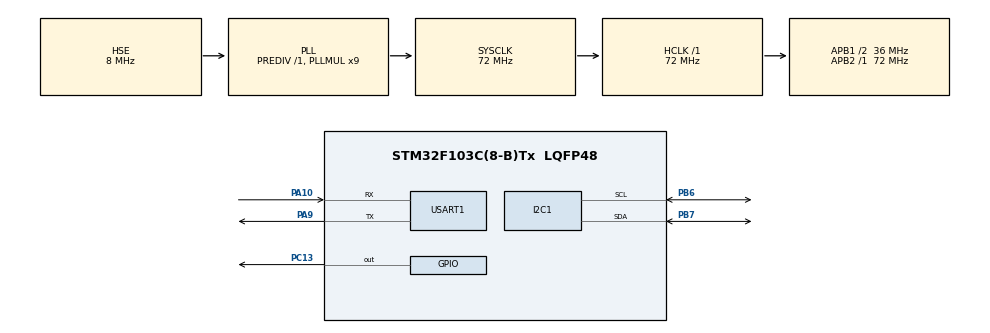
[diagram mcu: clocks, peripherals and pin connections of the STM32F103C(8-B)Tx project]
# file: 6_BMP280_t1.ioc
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Mcu.Family=STM32F1
Mcu.Name=STM32F103C(8-B)Tx
Mcu.Package=LQFP48
NVIC.PriorityGroup=NVIC_PRIORITYGROUP_4
NVIC.USART1_IRQn=true\:0\:0\:false\:false\:true\:true\:true\:true
PA10.Mode=Asynchronous
PA10.Signal=USART1_RX
PA13.Mode=Serial_Wire
PA13.Signal=SYS_JTMS-SWDIO
PA14.Mode=Serial_Wire
PA14.Signal=SYS_JTCK-SWCLK
PA9.Mode=Asynchronous
PA9.Signal=USART1_TX
PB6.Mode=I2C
PB6.Signal=I2C1_SCL
PB7.Mode=I2C
PB7.Signal=I2C1_SDA
PC13-TAMPER-RTC.PinState=GPIO_PIN_SET
PC13-TAMPER-RTC.Signal=GPIO_Output
PD0-OSC_IN.Mode=HSE-External-Oscillator
PD0-OSC_IN.Signal=RCC_OSC_IN
PD1-OSC_OUT.Mode=HSE-External-Oscillator
PD1-OSC_OUT.Signal=RCC_OSC_OUT
ProjectManager.HeapSize=0x200
ProjectManager.StackSize=0x800
ProjectManager.TargetToolchain=CMake
RCC.AHBFreq_Value=72000000
RCC.APB1CLKDivider=RCC_HCLK_DIV2
RCC.APB1Freq_Value=36000000
RCC.APB1TimFreq_Value=72000000
RCC.APB2Freq_Value=72000000
RCC.APB2TimFreq_Value=72000000
RCC.EnbaleCSS=true
RCC.HCLKFreq_Value=72000000
RCC.PLLMUL=RCC_PLL_MUL9
RCC.PLLSourceVirtual=RCC_PLLSOURCE_HSE
RCC.SYSCLKFreq_VALUE=72000000
RCC.SYSCLKSource=RCC_SYSCLKSOURCE_PLLCLK
RCC.USBFreq_Value=72000000
USART1.VirtualMode=VM_ASYNC
board=custom

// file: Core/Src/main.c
/* USER CODE BEGIN Header */
/**
  ******************************************************************************
  * @file           : main.c
  * @brief          : Main program body
  ******************************************************************************
  * @attention
  *
  * Copyright (c) 2026 STMicroelectronics.
  * All rights reserved.
  *
  * This software is licensed under terms that can be found in the LICENSE file
  * in the root directory of this software component.
  * If no LICENSE file comes with this software, it is provided AS-IS.
  *
  ******************************************************************************
  */
/* USER CODE END Header */
#include "main.h"
#include "i2c.h"
#include "stm32f103xb.h"
#include "stm32f1xx_hal_gpio.h"
#include "usart.h"
#include "gpio.h"

/* USER CODE BEGIN Includes */

#include "bmp280.h"
#include <stdio.h>
#include <string.h>

/* USER CODE END Includes */

/* USER CODE BEGIN PV */

extern I2C_HandleTypeDef hi2c1;
extern UART_HandleTypeDef huart1;

char msg[64];

/* USER CODE END PV */

void SystemClock_Config(void);

int main(void)
{

  /* MCU Configuration--------------------------------------------------------*/

  /* Reset of all peripherals, Initializes the Flash interface and the Systick. */
  HAL_Init();

  /* Configure the system clock */
  SystemClock_Config();

  /* Initialize all configured peripherals */
  MX_GPIO_Init();
  MX_I2C1_Init();
  MX_USART1_UART_Init();
  /* USER CODE BEGIN 2 */

  // char msg[64];

// sprintf(msg, "I2C Scan Start...\r\n");
// HAL_UART_Transmit(&huart1, (uint8_t*)msg, strlen(msg), 100);

// for(uint8_t addr=1; addr<128; addr++)
// {
//     if(HAL_I2C_IsDeviceReady(&hi2c1, addr<<1, 1, 10) == HAL_OK)
//     {
//         sprintf(msg, "Found device: 0x%X\r\n", addr);
//         HAL_UART_Transmit(&huart1, (uint8_t*)msg, strlen(msg), 100);
//     }
// }

// sprintf(msg, "Scan Done\r\n");
// HAL_UART_Transmit(&huart1, (uint8_t*)msg, strlen(msg), 100);

  uint8_t id = BMP280_ReadID(&hi2c1);

  sprintf(msg, "BMP280 ID: 0x%X\r\n", id);
  HAL_UART_Transmit(&huart1, (uint8_t*)msg, strlen(msg), 100);

  if(id != 0x58)
    {
        sprintf(msg, "BMP280 NOT FOUND!\r\n");
        HAL_UART_Transmit(&huart1, (uint8_t*)msg, strlen(msg), 100);
    }

  BMP280_Init(&hi2c1);

  /* USER CODE END 2 */

  /* Infinite loop */
  /* USER CODE BEGIN WHILE */
  float temperature, pressure, altitude;
  int32_t temp_int, temp_frac;
  int32_t press_int, press_frac;
  int32_t alt_int, alt_frac;

  // 初始化完成后，传感器结构体中已包含第一次读数作为IIR滤波器的“种子”
  // 我们直接将这个初始海拔设为基准零点
  BMP280_Set_Base_Altitude(&hi2c1);

  while (1)
  {
    BMP280_Read_Float(&hi2c1, &temperature, &pressure, &altitude);

    // 将温度浮点数拆分为整数和小数部分
    temp_int = (int32_t)temperature;
    temp_frac = (int32_t)((temperature - temp_int) * 100);
    if (temp_frac < 0) {
        temp_frac = -temp_frac; // 处理负温度的小数部分
    }

    // 将气压浮点数拆分为整数和小数部分
    press_int = (int32_t)pressure;
    press_frac = (int32_t)((pressure - press_int) * 100);

    // 将海拔浮点数拆分为整数和小数部分
    alt_int = (int32_t)altitude;
    alt_frac = (int32_t)((altitude - alt_int) * 100);
    if (alt_frac < 0) {
        alt_frac = -alt_frac;
    }

    sprintf(msg, "Temp: %ld.%02ld C, Press: %ld.%02ld Pa, Rel. Alt: %ld.%02ld m\r\n", temp_int, temp_frac, press_int, press_frac, alt_int, alt_frac);
    HAL_UART_Transmit(&huart1, (uint8_t*)msg, strlen(msg), 100);

    HAL_GPIO_TogglePin(GPIOC, GPIO_PIN_13);
    HAL_Delay(1000);
    // HAL_Delay(1000);
    /* USER CODE END WHILE */

  }
}

void SystemClock_Config(void)
{
  RCC_OscInitTypeDef RCC_OscInitStruct = {0};
  RCC_ClkInitTypeDef RCC_ClkInitStruct = {0};

  /** Initializes the RCC Oscillators according to the specified parameters
  * in the RCC_OscInitTypeDef structure.
  */
  RCC_OscInitStruct.OscillatorType = RCC_OSCILLATORTYPE_HSE;
  RCC_OscInitStruct.HSEState = RCC_HSE_ON;
  RCC_OscInitStruct.HSEPredivValue = RCC_HSE_PREDIV_DIV1;
  RCC_OscInitStruct.HSIState = RCC_HSI_ON;
  RCC_OscInitStruct.PLL.PLLState = RCC_PLL_ON;
  RCC_OscInitStruct.PLL.PLLSource = RCC_PLLSOURCE_HSE;
  RCC_OscInitStruct.PLL.PLLMUL = RCC_PLL_MUL9;
  if (HAL_RCC_OscConfig(&RCC_OscInitStruct) != HAL_OK)
  {
    Error_Handler();
  }

  /** Initializes the CPU, AHB and APB buses clocks
  */
  RCC_ClkInitStruct.ClockType = RCC_CLOCKTYPE_HCLK|RCC_CLOCKTYPE_SYSCLK
                              |RCC_CLOCKTYPE_PCLK1|RCC_CLOCKTYPE_PCLK2;
  RCC_ClkInitStruct.SYSCLKSource = RCC_SYSCLKSOURCE_PLLCLK;
  RCC_ClkInitStruct.AHBCLKDivider = RCC_SYSCLK_DIV1;
  RCC_ClkInitStruct.APB1CLKDivider = RCC_HCLK_DIV2;
  RCC_ClkInitStruct.APB2CLKDivider = RCC_HCLK_DIV1;

  if (HAL_RCC_ClockConfig(&RCC_ClkInitStruct, FLASH_LATENCY_2) != HAL_OK)
  {
    Error_Handler();
  }

  /** Enables the Clock Security System
  */
  HAL_RCC_EnableCSS();
}

void Error_Handler(void)
{
  __disable_irq();
  while (1)
  {
  }
}
